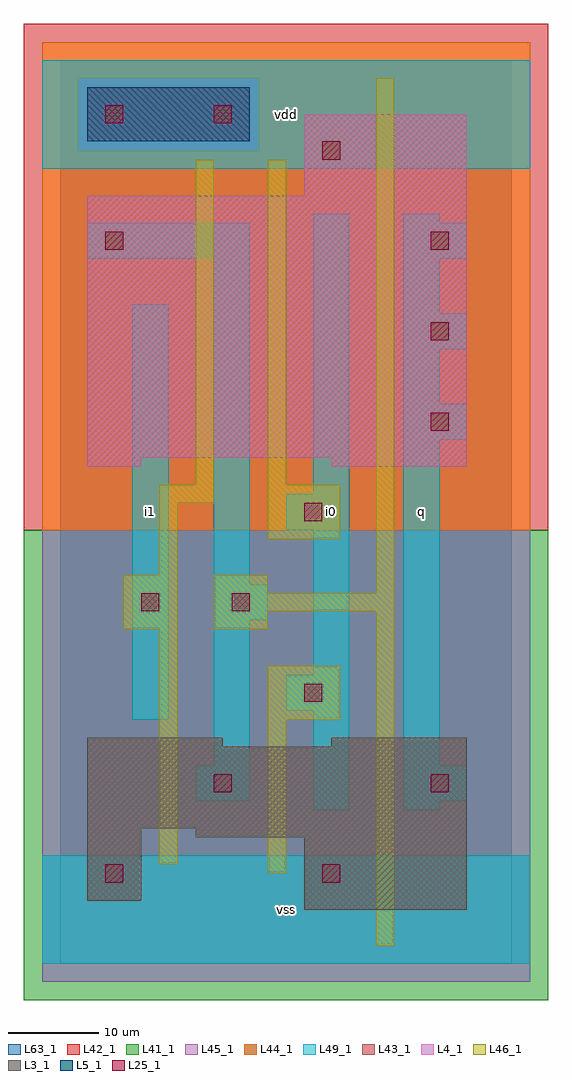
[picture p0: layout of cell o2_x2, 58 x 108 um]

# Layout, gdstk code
import gdstk
lib = gdstk.Library(unit=1e-6, precision=1e-09)
def R(c, l, rs):  # rectangles x0, y0, x1, y1
    for r in rs: c.add(gdstk.rectangle(r[:2], r[2:], *l))
def A(c, l, x, y, w, h, nx, ny, dx, dy):  # array of equal rectangles
    R(c, l, [(x+i*dx, y+j*dy, x+i*dx+w, y+j*dy+h) for i in range(nx) for j in range(ny)])
L3_1 = (3, 1)
L4_1 = (4, 1)
L5_1 = (5, 1)
L25_1 = (25, 1)
L41_1 = (41, 1)
L42_1 = (42, 1)
L43_1 = (43, 1)
L44_1 = (44, 1)
L45_1 = (45, 1)
L46_1 = (46, 1)
L49_1 = (49, 1)
L63_1 = (63, 1)

o2_x2 = lib.new_cell('o2_x2')
R(o2_x2, L3_1, [(27,6,45,14), (3,7,9,15), (15,14,45,15), (3,15,45,24), (3,24,18,25), (30,24,45,25)])
R(o2_x2, L4_1, [(3,55,9,56), (30,55,45,56), (3,56,45,85), (27,85,45,94)])
R(o2_x2, L5_1, [(3,91,21,97)])
A(o2_x2, L25_1, 41, 59, 2, 2, 1, 3, 0, 10)
R(o2_x2, L25_1, [(5,9,7,11), (29,9,31,11), (17,19,19,21), (41,19,43,21), (27,29,29,31), (9,39,11,41), (19,39,21,41), (27,49,29,51), (5,79,7,81), (29,89,31,91), (5,93,7,95), (17,93,19,95)])
R(o2_x2, L41_1, [(-4,-4,54,48)])
R(o2_x2, L42_1, [(-4,48,54,104)])
R(o2_x2, L43_1, [(27,6,45,14), (3,7,9,15), (15,14,45,15), (3,15,45,24), (3,24,18,25), (30,24,45,25), (3,55,9,56), (30,55,45,56), (3,56,45,85), (27,85,45,94), (3,91,21,97)])
R(o2_x2, L44_1, [(-2,48,52,90), (-2,90,2,98), (22,90,52,98), (-2,98,52,102)])
R(o2_x2, L45_1, [(-2,-2,52,48), (2,90,22,98)])
R(o2_x2, L46_1, [(35,2,37,39), (23,10,25,27), (11,11,13,37), (23,27,31,33), (7,37,13,43), (17,37,23,39), (17,39,37,41), (17,41,23,43), (35,41,37,98), (11,43,13,51), (23,47,31,53), (11,51,17,53), (15,53,17,89), (23,53,25,89)])
A(o2_x2, L49_1, 38, 58, 7, 4, 1, 3, 0, 10)
R(o2_x2, L49_1, [(-2,0,52,12), (28,17,32,28), (38,17,42,18), (15,18,21,22), (38,18,45,22), (17,22,21,38), (38,22,42,58), (8,27,12,73), (25,28,32,32), (28,32,32,48), (17,38,23,42), (17,42,21,78), (25,48,32,52), (28,52,32,83), (38,62,42,68), (38,72,42,78), (3,78,21,82), (38,82,42,83), (-2,88,52,100)])
R(o2_x2, L63_1, [(0,0,50,100)])
o2_x2.add(gdstk.Label('i1', (10,50), layer=49, texttype=1))
o2_x2.add(gdstk.Label('vss', (25,6), layer=49, texttype=1))
o2_x2.add(gdstk.Label('i0', (30,50), layer=49, texttype=1))
o2_x2.add(gdstk.Label('vdd', (25,94), layer=49, texttype=1))
o2_x2.add(gdstk.Label('q', (40,50), layer=49, texttype=1))

lib.write_gds('o2_x2.gds')
